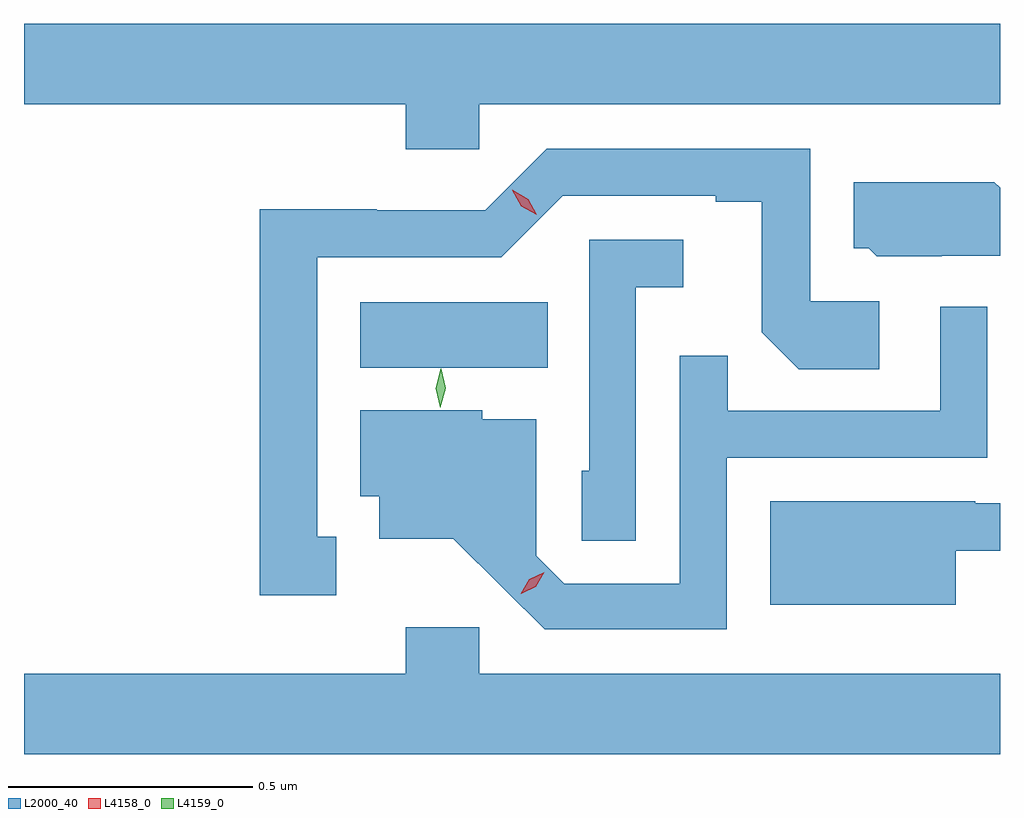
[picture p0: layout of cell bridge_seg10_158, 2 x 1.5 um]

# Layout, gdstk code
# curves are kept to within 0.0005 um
import gdstk
lib = gdstk.Library(unit=1e-6, precision=1e-09)
def R(c, l, rs):  # rectangles x0, y0, x1, y1
    for r in rs: c.add(gdstk.rectangle(r[:2], r[2:], *l))
def P(c, l, *ps):  # polygons
    for p in ps: c.add(gdstk.Polygon(p, *l))
L2000_40 = (2000, 40)
L4158_0 = (4158, 0)
L4159_0 = (4159, 0)

bridge_seg10_158 = lib.new_cell('bridge_seg10_158')
R(bridge_seg10_158, L2000_40, [(256.586,1306.436,256.97,1306.57)])
P(bridge_seg10_158, L2000_40, [(256.83,1306.976),(257.897,1306.976),(257.897,1307.14),(255.897,1307.14),(255.897,1306.976),(256.679,1306.976),(256.679,1306.883),(256.83,1306.883)],
  [(256.537,1306.089),(256.498,1306.089),(256.498,1306.662),(256.875,1306.662),(257.001,1306.788),(257.315,1306.788),(257.315,1306.776),(257.409,1306.776),(257.409,1306.508),(257.485,1306.432),(257.65,1306.432),(257.65,1306.572),(257.508,1306.572),(257.508,1306.884),(256.968,1306.884),(256.842,1306.758),(256.62,1306.758),(256.62,1306.76),(256.38,1306.76),(256.38,1305.969),(256.537,1305.969)],
  [(257.778,1306.665),(257.897,1306.665),(257.897,1306.804),(257.885,1306.816),(257.597,1306.816),(257.597,1306.68),(257.628,1306.68),(257.644,1306.664),(257.778,1306.664)],
  [(257.151,1306.601),(257.248,1306.601),(257.248,1306.698),(257.055,1306.698),(257.055,1306.224),(257.04,1306.224),(257.04,1306.081),(257.151,1306.081)],
  [(257.337,1306.251),(257.871,1306.251),(257.871,1306.561),(257.775,1306.561),(257.775,1306.347),(257.339,1306.347),(257.339,1306.46),(257.241,1306.46),(257.241,1305.993),(257.004,1305.993),(256.947,1306.05),(256.947,1306.33),(256.836,1306.33),(256.836,1306.348),(256.586,1306.348),(256.586,1306.172),(256.625,1306.172),(256.625,1306.085),(256.777,1306.085),(256.964,1305.9),(257.337,1305.9)],
  [(257.806,1306.061),(257.897,1306.061),(257.897,1306.158),(257.846,1306.158),(257.846,1306.162),(257.426,1306.162),(257.426,1305.95),(257.806,1305.95)],
  [(257.897,1305.808),(256.83,1305.808),(256.83,1305.904),(256.679,1305.904),(256.679,1305.808),(255.897,1305.808),(255.897,1305.644),(257.897,1305.644)])
P(bridge_seg10_158, L4158_0, [(256.915,1305.972),(256.915,1305.972),(256.932,1306.002),(256.963,1306.017),(256.963,1306.017),(256.963,1306.017),(256.946,1305.987),(256.916,1305.972)],
  [(256.948,1306.749),(256.916,1306.767),(256.898,1306.799),(256.898,1306.8),(256.898,1306.8),(256.93,1306.781),(256.948,1306.749),(256.948,1306.749)])
P(bridge_seg10_158, L4159_0, [(256.75,1306.354),(256.75,1306.354),(256.741,1306.394),(256.751,1306.434),(256.751,1306.434),(256.752,1306.434),(256.761,1306.394),(256.75,1306.354)])

lib.write_gds('bridge_seg10_158.gds')
